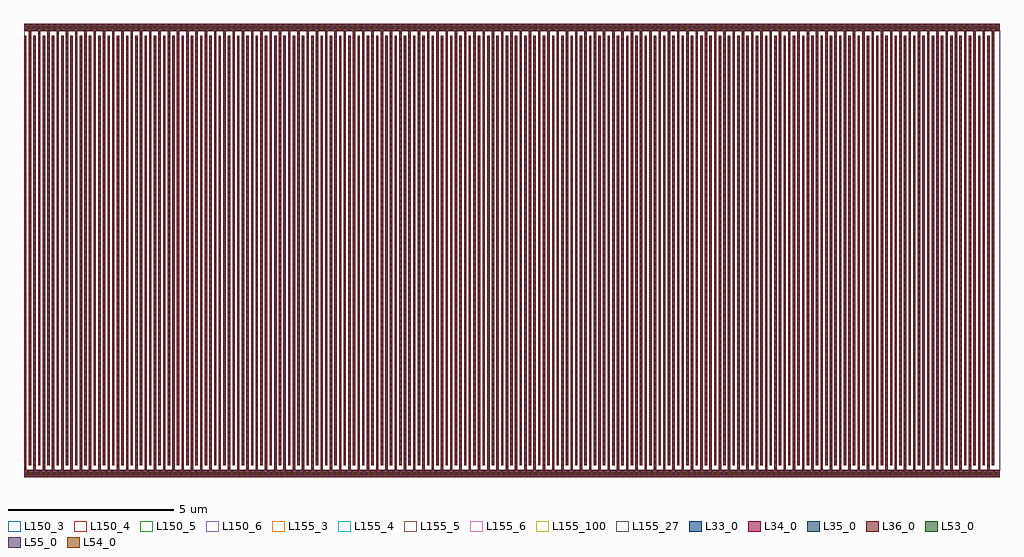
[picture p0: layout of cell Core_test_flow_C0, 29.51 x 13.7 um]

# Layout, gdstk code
import gdstk
lib = gdstk.Library(unit=1e-6, precision=1e-09)
def R(c, l, rs):  # rectangles x0, y0, x1, y1
    for r in rs: c.add(gdstk.rectangle(r[:2], r[2:], *l))
def A(c, l, x, y, w, h, nx, ny, dx, dy):  # array of equal rectangles
    R(c, l, [(x+i*dx, y+j*dy, x+i*dx+w, y+j*dy+h) for i in range(nx) for j in range(ny)])
L33_0 = (33, 0)
L34_0 = (34, 0)
L35_0 = (35, 0)
L36_0 = (36, 0)
L53_0 = (53, 0)
L54_0 = (54, 0)
L55_0 = (55, 0)
L150_3 = (150, 3)
L150_4 = (150, 4)
L150_5 = (150, 5)
L150_6 = (150, 6)
L155_3 = (155, 3)
L155_4 = (155, 4)
L155_5 = (155, 5)
L155_6 = (155, 6)
L155_27 = (155, 27)
L155_100 = (155, 100)

core_test_flow_c0 = lib.new_cell('Core_test_flow_C0')
A(core_test_flow_c0, L33_0, -0.05, 0.16, 0.07, 0.14, 105, 1, 0.28, 0)
A(core_test_flow_c0, L33_0, -0.05, 0.3, 0.07, 13, 210, 1, 0.14, 0)
A(core_test_flow_c0, L33_0, 0.09, 13.3, 0.07, 0.14, 105, 1, 0.28, 0)
R(core_test_flow_c0, L33_0, [(-0.05,-0.05,29.45,0.16), (-0.05,13.44,29.45,13.65)])
A(core_test_flow_c0, L34_0, -0.05, 0.16, 0.07, 0.14, 105, 1, 0.28, 0)
A(core_test_flow_c0, L34_0, -0.05, 0.3, 0.07, 13, 210, 1, 0.14, 0)
A(core_test_flow_c0, L34_0, 0.09, 13.3, 0.07, 0.14, 105, 1, 0.28, 0)
R(core_test_flow_c0, L34_0, [(-0.05,-0.05,29.45,0.16), (-0.05,13.44,29.45,13.65)])
A(core_test_flow_c0, L35_0, -0.05, 0.16, 0.07, 0.14, 105, 1, 0.28, 0)
A(core_test_flow_c0, L35_0, -0.05, 0.3, 0.07, 13, 210, 1, 0.14, 0)
A(core_test_flow_c0, L35_0, 0.09, 13.3, 0.07, 0.14, 105, 1, 0.28, 0)
R(core_test_flow_c0, L35_0, [(-0.05,-0.05,29.45,0.16), (-0.05,13.44,29.45,13.65)])
A(core_test_flow_c0, L36_0, -0.05, 0.16, 0.07, 0.14, 105, 1, 0.28, 0)
A(core_test_flow_c0, L36_0, -0.05, 0.3, 0.07, 13, 210, 1, 0.14, 0)
A(core_test_flow_c0, L36_0, 0.09, 13.3, 0.07, 0.14, 105, 1, 0.28, 0)
R(core_test_flow_c0, L36_0, [(-0.05,-0.05,29.45,0.16), (-0.05,13.44,29.45,13.65)])
A(core_test_flow_c0, L53_0, 0.025, 0.02, 0.07, 0.07, 184, 2, 0.16, 13.49)
A(core_test_flow_c0, L54_0, 0.105, 0.02, 0.07, 0.07, 183, 2, 0.16, 13.49)
A(core_test_flow_c0, L55_0, 0.025, 0.02, 0.07, 0.07, 184, 2, 0.16, 13.49)
R(core_test_flow_c0, L150_3, [(-0.05,-0.05,29.45,13.65)])
R(core_test_flow_c0, L150_4, [(-0.05,-0.05,29.45,13.65)])
R(core_test_flow_c0, L150_5, [(-0.05,-0.05,29.45,13.65)])
R(core_test_flow_c0, L150_6, [(-0.05,-0.05,29.45,13.65)])
R(core_test_flow_c0, L155_3, [(-0.055,0.16,29.455,13.44)])
R(core_test_flow_c0, L155_4, [(-0.055,0.16,29.455,13.44)])
R(core_test_flow_c0, L155_5, [(-0.055,0.16,29.455,13.44)])
R(core_test_flow_c0, L155_6, [(-0.055,0.16,29.455,13.44)])
R(core_test_flow_c0, L155_27, [(-0.055,0.16,29.455,13.44)])
R(core_test_flow_c0, L155_100, [(-0.055,0.16,29.455,13.44)])

lib.write_gds('Core_test_flow_C0.gds')
